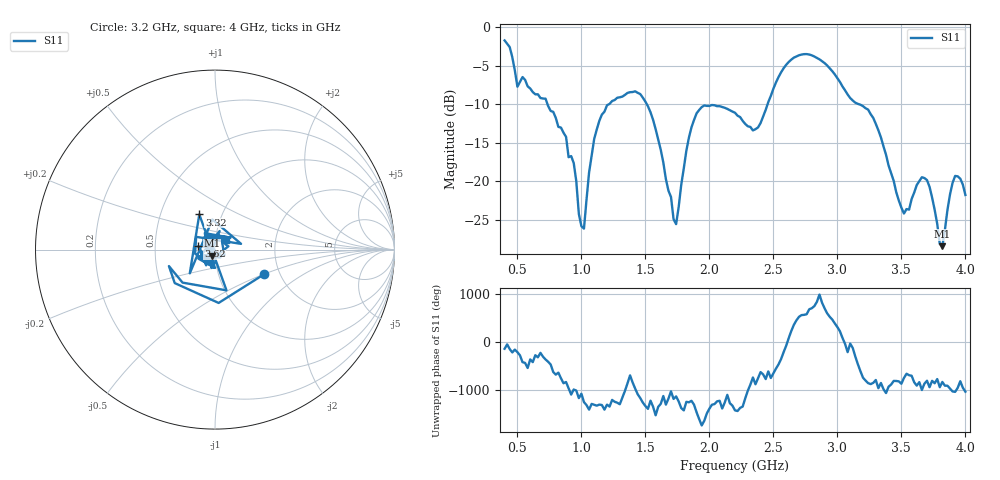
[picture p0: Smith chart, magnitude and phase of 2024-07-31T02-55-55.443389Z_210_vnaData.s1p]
!Created with skrf (http://scikit-rf.org).
# Hz S RI R 50.0
!freq ReS11 ImS11
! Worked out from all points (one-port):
!   181 points, 400 MHz to 4 GHz, reference 50 ohm
!   lowest |S11| = -28.4 dB at 3.82 GHz (marker M1), VSWR 1.08, Z = 48.3 - j3.34 ohm
!   |S11| at or under -10 dB: 735.1 MHz to 1.216 GHz (480.5 MHz wide, 49.3 % of centre); 1.511 GHz to 2.455 GHz (943.6 MHz wide, 47.6 % of centre); 3.168 GHz to end of sweep
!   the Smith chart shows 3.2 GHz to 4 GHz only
!   S11 on the Smith chart (normalised r, x): 3.2 GHz: 1.67, -0.50; 3.32 GHz: 0.78, +0.32; 3.62 GHz: 0.83, +0.03; 4 GHz: 1.12, +0.12
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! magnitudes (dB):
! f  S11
! 400 MHz  -1.8
! 500 MHz  -7.7
! 860 MHz  -13.7
! 940 MHz  -17.6
! 980 MHz  -24.2
! 1.02 GHz  -26.1
! 1.06 GHz  -18.8
! 1.12 GHz  -13.3
! 1.3 GHz  -9.1
! 1.52 GHz  -10.3
! 1.72 GHz  -24.9
! 1.76 GHz  -23.3
! 1.82 GHz  -16.0
! 1.9 GHz  -11.2
! 2.2 GHz  -11.1
! 2.38 GHz  -13.0
! 2.66 GHz  -4.0
! 2.86 GHz  -4.2
! 3.1 GHz  -9.2
! 3.2 GHz  -10.3
! 3.32 GHz  -13.4
! 3.5 GHz  -23.4
! 3.56 GHz  -23.6
! 3.62 GHz  -20.5
! 3.7 GHz  -19.8
! 3.82 GHz  -28.4
! 3.92 GHz  -19.3
! 4 GHz  -21.7
